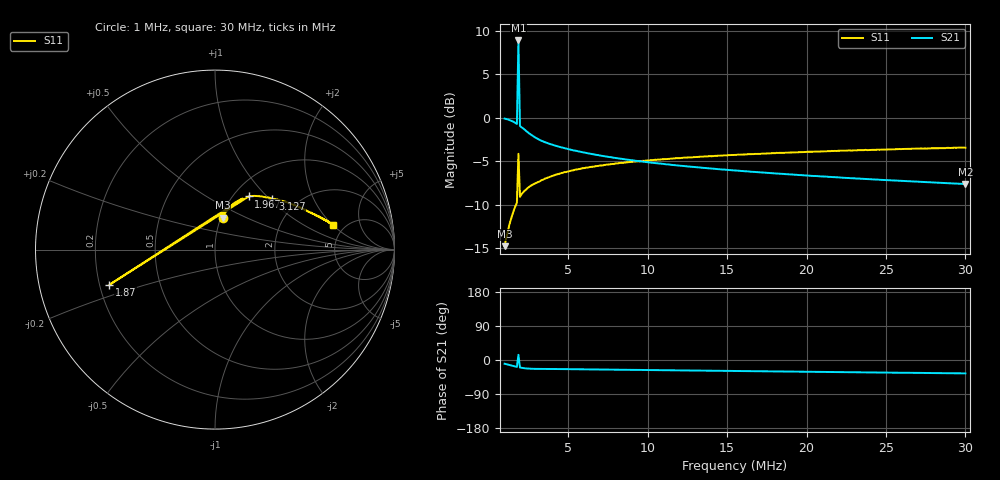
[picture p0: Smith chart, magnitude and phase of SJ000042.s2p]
!File created by NanoVNA-F V2
# Hz S RI R 50
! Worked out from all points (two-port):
!   301 points, 1 MHz to 30 MHz, reference 50 ohm
!   highest |S21| = 8.90 dB at 1.87 MHz (marker M1); lowest = -7.6 dB at 30 MHz (marker M2)
!   |S21| within 3 dB of the highest: 1.84 MHz to 1.899 MHz (59.59 kHz wide, 3.19 % of centre)
!   lowest |S11| = -14.8 dB at 1 MHz (marker M3), VSWR 1.45, Z = 51 + j18.7 ohm
!   |S11| at or under -10 dB: start of sweep to 1.726 MHz
!   S12 and S22 are empty: the file has one direction only
!   S11 on the Smith chart (normalised r, x): 1 MHz: 1.02, +0.37; 1.87 MHz: 0.24, -0.15; 1.967 MHz: 1.17, +0.79; 3.127 MHz: 1.51, +1.04; 30 MHz: 4.05, +2.01
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1000000  0.0425 0.177  0.9737 -0.1691  0 0  0 0
1096666  0.051 0.1952  0.9662 -0.1867  0 0  0 0
1289998  0.0743 0.2284  0.9453 -0.2204  0 0  0 0
1386664  0.0895 0.2421  0.9333 -0.2357  0 0  0 0
1579996  0.1202 0.2672  0.9075 -0.265  0 0  0 0
1773328  0.1542 0.2846  0.8749 -0.2885  0 0  0 0
1869994  -0.588 -0.1956  2.708 0.6581  0 0  0 0
1966660  0.1876 0.2959  0.843 -0.3036  0 0  0 0
2256658  0.2343 0.2985  0.7927 -0.3177  0 0  0 0
2546656  0.2698 0.2943  0.7475 -0.317  0 0  0 0
2933320  0.3044 0.288  0.7054 -0.3055  0 0  0 0
3126652  0.32 0.2831  0.69 -0.2996  0 0  0 0
3513316  0.3459 0.2796  0.6638 -0.2889  0 0  0 0
4189978  0.3832 0.2699  0.6316 -0.2777  0 0  0 0
4769974  0.4106 0.2604  0.6102 -0.2718  0 0  0 0
5833300  0.4459 0.2471  0.5774 -0.2643  0 0  0 0
8249950  0.5018 0.2227  0.5238 -0.2521  0 0  0 0
1.06666e7  0.5372 0.2042  0.4872 -0.2459  0 0  0 0
1.54999e7  0.5831 0.1816  0.4349 -0.2406  0 0  0 0
2.03332e7  0.6148 0.1639  0.3958 -0.2399  0 0  0 0
2.51665e7  0.6395 0.1508  0.365 -0.2395  0 0  0 0
2.99998e7  0.6581 0.1361  0.3386 -0.24  0 0  0 0
